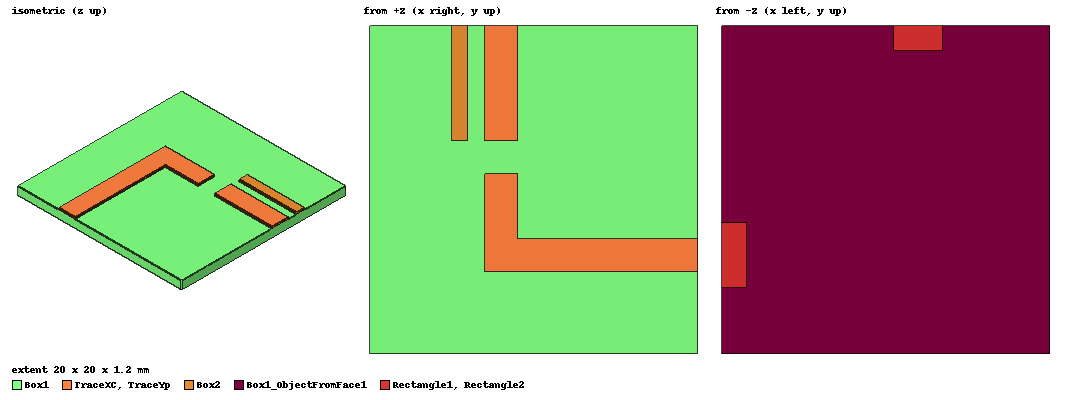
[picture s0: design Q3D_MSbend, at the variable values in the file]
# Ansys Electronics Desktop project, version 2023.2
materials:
  vacuum: permittivity=1
  copper: permeability=0.999991 conductivity=58000000
  FR4_epoxy: permittivity=4.4 dielectric_loss_tangent=0.02

design Q3D_MSbend (Q3D Extractor, model units mm)
options: SParamCalcMethod=EqTransLine Calculate_Lossy_Dielectrics
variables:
  Substrate_Thickness = 1mm
  TraceWidth = 2mm
  Xlength = 20mm
  Xline = -2mm
  Ylength = 20mm
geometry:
  TraceXC [copper] = polyline(z=1mm, xy: (10mm, -4mm) (Xline, -4mm) (Xline, 1mm), section line width=TraceWidth)
  TraceXC.thicken(-0.2mm)
  TraceYp [copper] = polyline((Xline, 3mm, 1mm) (Xline, 10mm, 1mm), section line width=TraceWidth)
  TraceYp.thicken(-0.2mm)
  Box1 [FR4_epoxy] = box(corner=(-10mm, -10mm, 0mm), size=(Xlength, Ylength, Substrate_Thickness))
  Box1_ObjectFromFace1 [FR4_epoxy] = object_from(Box1.face(-z))
  Rectangle1 [copper] = rectangle(corner=(8.5mm, -6mm, 0mm), x_size=1.5mm, y_size=4mm)
  Rectangle2 [copper] = rectangle(corner=(-3.5mm, 10mm, 0mm), x_size=3mm, y_size=-1.5mm)
  Box2 [copper] = box(corner=(-5mm, 10mm, 1mm), size=(1mm, -7mm, 0.2mm))
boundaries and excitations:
  ThinCond1: ThinConductor Objects=Box1_ObjectFromFace1 Material=Copper Thickness=0.1mm
  TraceXC: SignalNet Objects=TraceXC
  TraceYp: SignalNet Objects=TraceYp
  Box1_ObjectFromFace1: SignalNet Objects=Box1_ObjectFromFace1
  SignalNet1: SignalNet Objects=Box2
  Rectangle2: Source Objects=Rectangle2 TerminalType=ConstantVoltage Net=Box1_ObjectFromFace1
  Rectangle1: Sink Objects=Rectangle1 TerminalType=ConstantVoltage Net=Box1_ObjectFromFace1
  Source1: Source Faces=TraceXC.face(at (10, -4, 1.1)) TerminalType=ConstantVoltage Net=TraceXC
  Sink1: Sink Faces=TraceXC.face(at (-2, 1, 1.1)) TerminalType=ConstantVoltage Net=TraceXC
  Sink2: Sink Faces=TraceYp.face(at (-2, 10, 1.1)) TerminalType=ConstantVoltage Net=TraceYp
  Source2: Source Faces=TraceYp.face(at (-2, 3, 1.1)) TerminalType=ConstantVoltage Net=TraceYp
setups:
  Setup1GHz: Matrix AdaptiveFreq=1GHz SaveFields Cap{MaxPass=10 MinPass=1 MinConvPass=1 PerError=1 PerRefine=30 AutoIncreaseSolutionOrder SolutionOrder=High Solver_Type=Iterative} DC{Cond{MaxPass=10 MinPass=1 MinConvPass=1 PerError=1 PerRefine=30} Mult{MaxPass=1 MinPass=1 MinConvPass=1 PerError=1 PerRefine=30} Solution_Order=Normal} AC{MaxPass=10 MinPass=1 MinConvPass=1 PerError=1 PerRefine=30} ErrorValue=0.1
    sweep MSbX_021GHz: 0Hz to 1Hz step 1Hz; 1Hz to 100MHz, log, 10 per decade; 100MHz to 1GHz step 200MHz; Type=Discrete
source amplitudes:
  Box1_ObjectFromFace1:Rectangle2: AC 1A
  TraceXC:Source1, TraceYp:Source2: AC 0A
  Box1_ObjectFromFace1: Cap 50V 0deg
  SignalNet1: Cap 0V 0deg
  TraceXC: Cap 100V 0deg
  TraceYp: Cap 75V 0deg
  Box1_ObjectFromFace1:Rectangle2: DC 1A
  TraceXC:Source1, TraceYp:Source2: DC 0A
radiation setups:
  Sphere1: Near Sphere Theta=0deg..180deg step 2deg Phi=-180deg..180deg step 2deg Radius=20mm
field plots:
  JdcThinCond1: JDC ThinCond over Box1_ObjectFromFace1.face on Setup1GHz : LastAdaptive at Freq=1GHz
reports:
  C Matrix Plot 1: C(TraceXC,Box1_ObjectFromFace1) vs Freq on Setup1GHz : MSbX_021GHz
  ACL Matrix Plot 1: ACL(TraceXC:Source1,Box1_ObjectFromFace1:Rectangle2) vs Freq on Setup1GHz : MSbX_021GHz
  E Fields Plot 1: dB(ETotal) vs Theta, Phi on Setup1GHz : LastAdaptive [Freq=1GHz]
